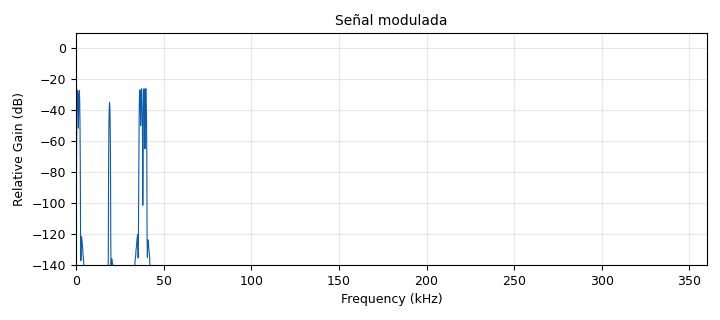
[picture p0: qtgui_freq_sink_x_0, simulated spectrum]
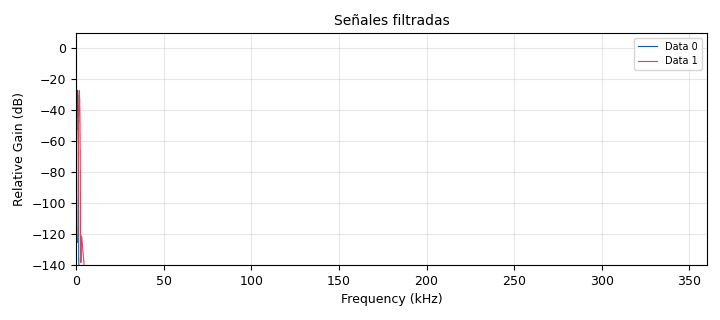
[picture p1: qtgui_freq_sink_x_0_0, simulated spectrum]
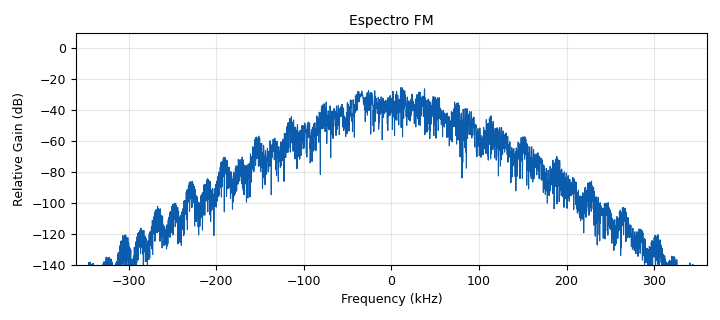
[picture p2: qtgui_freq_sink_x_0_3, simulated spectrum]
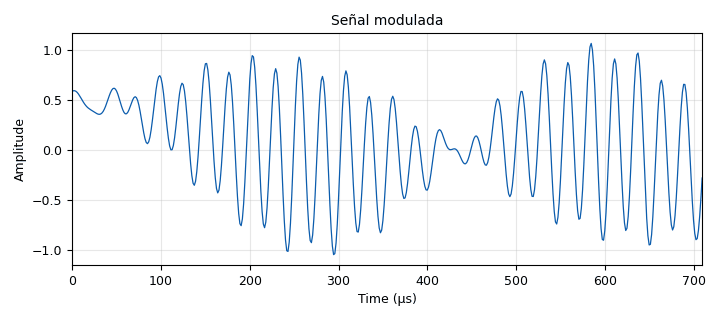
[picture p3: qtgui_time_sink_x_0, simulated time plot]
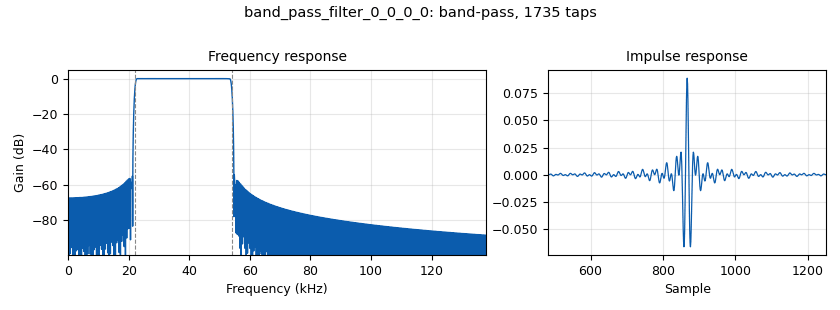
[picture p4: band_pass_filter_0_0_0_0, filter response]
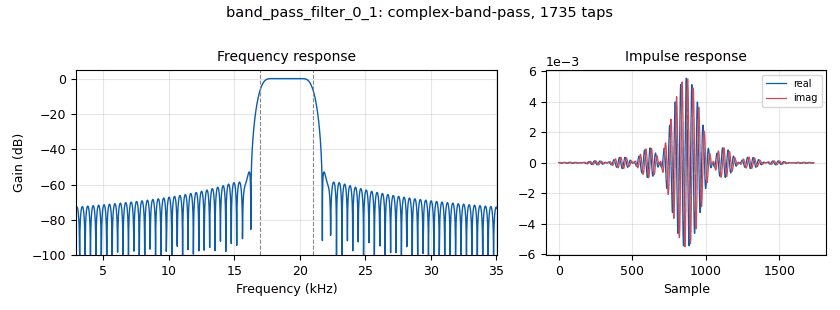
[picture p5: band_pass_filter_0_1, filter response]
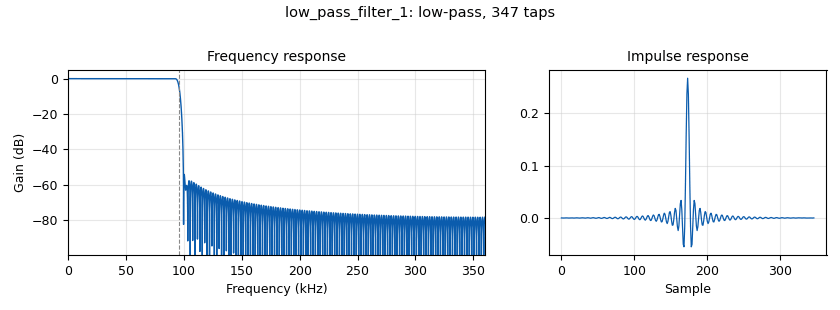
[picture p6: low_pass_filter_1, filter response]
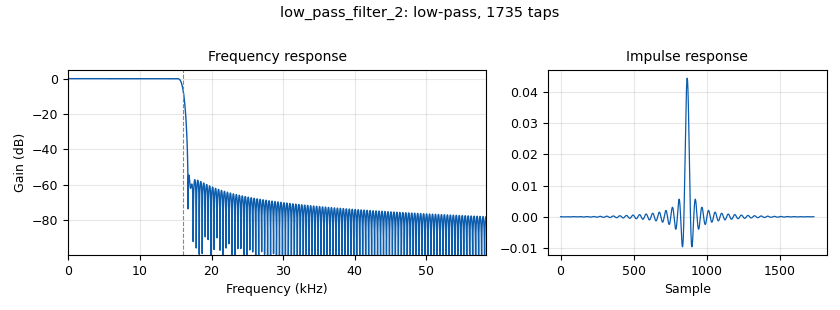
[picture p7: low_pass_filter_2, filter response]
<?xml version='1.0' encoding='utf-8'?>
<?grc format='1' created='3.7.13'?>
<flow_graph>
<block>
<key>options</key>
<param><key>id</key><value>top_block</value></param>
<param><key>generate_options</key><value>qt_gui</value></param>
</block>
<block>
<key>variable_qtgui_range</key>
<param><key>id</key><value>Aleft</value></param>
<param><key>value</key><value>0.25</value></param>
<param><key>label</key><value>Left Stereo Amplitude</value></param>
<param><key>orient</key><value>Qt.Horizontal</value></param>
<param><key>start</key><value>0</value></param>
<param><key>step</key><value>0.01</value></param>
<param><key>stop</key><value>0.5</value></param>
</block>
<block>
<key>variable_qtgui_range</key>
<param><key>id</key><value>Aright</value></param>
<param><key>value</key><value>0.25</value></param>
<param><key>label</key><value>Right Stereo Amplitude</value></param>
<param><key>orient</key><value>Qt.Horizontal</value></param>
<param><key>start</key><value>0.0</value></param>
<param><key>step</key><value>0.01</value></param>
<param><key>stop</key><value>0.5</value></param>
</block>
<block>
<key>variable_qtgui_range</key>
<param><key>id</key><value>Fleft</value></param>
<param><key>value</key><value>700</value></param>
<param><key>label</key><value>Left Stereo Frequency</value></param>
<param><key>orient</key><value>Qt.Horizontal</value></param>
<param><key>start</key><value>0.1e3</value></param>
<param><key>step</key><value>0.1e3</value></param>
<param><key>stop</key><value>20e3</value></param>
</block>
<block>
<key>variable</key>
<param><key>id</key><value>Fpilot</value></param>
<param><key>comment</key><value>Pilot Signal Frequency</value></param>
<param><key>value</key><value>19e3</value></param>
</block>
<block>
<key>variable_qtgui_range</key>
<param><key>id</key><value>Freq_USRP</value></param>
<param><key>value</key><value>94.3e6</value></param>
<param><key>label</key><value>Freq_USRP</value></param>
<param><key>orient</key><value>Qt.Horizontal</value></param>
<param><key>start</key><value>80e6</value></param>
<param><key>step</key><value>0.1e6</value></param>
<param><key>stop</key><value>107.9e6</value></param>
</block>
<block>
<key>variable_qtgui_range</key>
<param><key>id</key><value>Fright</value></param>
<param><key>value</key><value>1700</value></param>
<param><key>label</key><value>Right Stereo Frequency</value></param>
<param><key>orient</key><value>Qt.Horizontal</value></param>
<param><key>start</key><value>0.1e3</value></param>
<param><key>step</key><value>0.1e3</value></param>
<param><key>stop</key><value>20e3</value></param>
</block>
<block>
<key>variable_qtgui_range</key>
<param><key>id</key><value>Gain_Tx</value></param>
<param><key>value</key><value>70</value></param>
<param><key>label</key><value>Gain_Tx</value></param>
<param><key>orient</key><value>Qt.Horizontal</value></param>
<param><key>start</key><value>0</value></param>
<param><key>step</key><value>1</value></param>
<param><key>stop</key><value>100</value></param>
</block>
<block>
<key>variable</key>
<param><key>id</key><value>samp_rate</value></param>
<param><key>value</key><value>720e3</value></param>
</block>
<block>
<key>note</key>
<param><key>id</key><value>PilotSignal</value></param>
<param><key>note</key><value>Indica que en su segunda armónica hay información estéreo</value></param>
</block>
<block>
<key>analog_sig_source_x</key>
<param><key>id</key><value>Sleft</value></param>
<param><key>amp</key><value>Aleft</value></param>
<param><key>alias</key><value>Left Signal</value></param>
<param><key>comment</key><value>Left Signal</value></param>
<param><key>freq</key><value>Fleft</value></param>
<param><key>offset</key><value>0</value></param>
<param><key>type</key><value>float</value></param>
<param><key>samp_rate</key><value>samp_rate</value></param>
<param><key>waveform</key><value>analog.GR_COS_WAVE</value></param>
</block>
<block>
<key>analog_sig_source_x</key>
<param><key>id</key><value>Sleft_03</value></param>
<param><key>amp</key><value>Aleft</value></param>
<param><key>alias</key><value>Left Signal oo</value></param>
<param><key>comment</key><value>Left Signal</value></param>
<param><key>_enabled</key><value>0</value></param>
<param><key>freq</key><value>Fleft</value></param>
<param><key>offset</key><value>0</value></param>
<param><key>type</key><value>float</value></param>
<param><key>samp_rate</key><value>samp_rate</value></param>
<param><key>waveform</key><value>analog.GR_COS_WAVE</value></param>
</block>
<block>
<key>analog_sig_source_x</key>
<param><key>id</key><value>Smover</value></param>
<param><key>amp</key><value>1</value></param>
<param><key>comment</key><value>Center L-R</value></param>
<param><key>freq</key><value>Fpilot*2</value></param>
<param><key>offset</key><value>0</value></param>
<param><key>type</key><value>float</value></param>
<param><key>samp_rate</key><value>samp_rate</value></param>
<param><key>waveform</key><value>analog.GR_SIN_WAVE</value></param>
</block>
<block>
<key>analog_sig_source_x</key>
<param><key>id</key><value>Smover_0</value></param>
<param><key>amp</key><value>1</value></param>
<param><key>comment</key><value>Center L-R</value></param>
<param><key>_enabled</key><value>0</value></param>
<param><key>freq</key><value>Fpilot*2</value></param>
<param><key>offset</key><value>0</value></param>
<param><key>type</key><value>float</value></param>
<param><key>samp_rate</key><value>samp_rate</value></param>
<param><key>waveform</key><value>analog.GR_SIN_WAVE</value></param>
</block>
<block>
<key>analog_sig_source_x</key>
<param><key>id</key><value>Spilot</value></param>
<param><key>amp</key><value>0.1</value></param>
<param><key>comment</key><value>Pilot Signal</value></param>
<param><key>freq</key><value>Fpilot</value></param>
<param><key>offset</key><value>0</value></param>
<param><key>type</key><value>float</value></param>
<param><key>samp_rate</key><value>samp_rate</value></param>
<param><key>waveform</key><value>analog.GR_SIN_WAVE</value></param>
</block>
<block>
<key>analog_sig_source_x</key>
<param><key>id</key><value>Sright</value></param>
<param><key>amp</key><value>Aright</value></param>
<param><key>comment</key><value>Right Signal</value></param>
<param><key>freq</key><value>Fright</value></param>
<param><key>offset</key><value>0</value></param>
<param><key>type</key><value>float</value></param>
<param><key>samp_rate</key><value>samp_rate</value></param>
<param><key>waveform</key><value>analog.GR_COS_WAVE</value></param>
</block>
<block>
<key>qtgui_tab_widget</key>
<param><key>id</key><value>Tabs</value></param>
<param><key>label0</key><value>Tx</value></param>
<param><key>label1</key><value>Rx</value></param>
<param><key>num_tabs</key><value>2</value></param>
</block>
<block>
<key>analog_frequency_modulator_fc</key>
<param><key>id</key><value>analog_frequency_modulator_fc_0</value></param>
<param><key>sensitivity</key><value>2*np.pi*75e3/samp_rate</value></param>
</block>
<block>
<key>analog_pll_refout_cc</key>
<param><key>id</key><value>analog_pll_refout_cc_0</value></param>
<param><key>w</key><value>0.2</value></param>
<param><key>max_freq</key><value>2*np.pi*19600/samp_rate</value></param>
<param><key>min_freq</key><value>2*np.pi*18400/samp_rate</value></param>
</block>
<block>
<key>analog_quadrature_demod_cf</key>
<param><key>id</key><value>analog_quadrature_demod_cf_0</value></param>
<param><key>gain</key><value>samp_rate/(2*np.pi*75000)</value></param>
</block>
<block>
<key>analog_sig_source_x</key>
<param><key>id</key><value>analog_sig_source_x_0</value></param>
<param><key>amp</key><value>1</value></param>
<param><key>_enabled</key><value>0</value></param>
<param><key>freq</key><value>19e3</value></param>
<param><key>offset</key><value>0</value></param>
<param><key>type</key><value>float</value></param>
<param><key>samp_rate</key><value>samp_rate</value></param>
<param><key>waveform</key><value>analog.GR_COS_WAVE</value></param>
</block>
<block>
<key>audio_sink</key>
<param><key>id</key><value>audio_sink_0</value></param>
<param><key>num_inputs</key><value>2</value></param>
<param><key>samp_rate</key><value>48000</value></param>
</block>
<block>
<key>band_pass_filter</key>
<param><key>id</key><value>band_pass_filter_0_0_0_0</value></param>
<param><key>comment</key><value>Left - Right @ 2Fpilot</value></param>
<param><key>decim</key><value>1</value></param>
<param><key>type</key><value>fir_filter_fff</value></param>
<param><key>gain</key><value>1</value></param>
<param><key>high_cutoff_freq</key><value>16e3+2*Fpilot</value></param>
<param><key>low_cutoff_freq</key><value>2*Fpilot-16e3</value></param>
<param><key>samp_rate</key><value>samp_rate</value></param>
<param><key>width</key><value>1e3</value></param>
<param><key>win</key><value>firdes.WIN_HAMMING</value></param>
</block>
<block>
<key>band_pass_filter</key>
<param><key>id</key><value>band_pass_filter_0_1</value></param>
<param><key>comment</key><value>Piloto</value></param>
<param><key>decim</key><value>1</value></param>
<param><key>type</key><value>fir_filter_fcc</value></param>
<param><key>gain</key><value>1</value></param>
<param><key>high_cutoff_freq</key><value>21e3</value></param>
<param><key>low_cutoff_freq</key><value>17e3</value></param>
<param><key>samp_rate</key><value>samp_rate</value></param>
<param><key>width</key><value>1e3</value></param>
<param><key>win</key><value>firdes.WIN_HAMMING</value></param>
</block>
<block>
<key>blocks_add_xx</key>
<param><key>id</key><value>blocks_add_xx_0</value></param>
<param><key>comment</key><value>Left + Right</value></param>
<param><key>type</key><value>float</value></param>
</block>
<block>
<key>blocks_add_xx</key>
<param><key>id</key><value>blocks_add_xx_0_0</value></param>
<param><key>comment</key><value>Left
recovered</value></param>
<param><key>type</key><value>float</value></param>
</block>
<block>
<key>blocks_add_xx</key>
<param><key>id</key><value>blocks_add_xx_1</value></param>
<param><key>type</key><value>float</value></param>
<param><key>num_inputs</key><value>3</value></param>
</block>
<block>
<key>blocks_complex_to_imag</key>
<param><key>id</key><value>blocks_complex_to_imag_0</value></param>
</block>
<block>
<key>blocks_multiply_const_vxx</key>
<param><key>id</key><value>blocks_multiply_const_vxx_0</value></param>
<param><key>comment</key><value>Corrección de 7dB</value></param>
<param><key>const</key><value>2.238</value></param>
<param><key>type</key><value>float</value></param>
</block>
<block>
<key>blocks_multiply_const_vxx</key>
<param><key>id</key><value>blocks_multiply_const_vxx_0_0</value></param>
<param><key>comment</key><value>Corrección de ganancia</value></param>
<param><key>const</key><value>0.9021</value></param>
<param><key>type</key><value>float</value></param>
</block>
<block>
<key>blocks_multiply_const_vxx</key>
<param><key>id</key><value>blocks_multiply_const_vxx_1</value></param>
<param><key>const</key><value>-1</value></param>
<param><key>type</key><value>float</value></param>
</block>
<block>
<key>blocks_multiply_xx</key>
<param><key>id</key><value>blocks_multiply_xx_0</value></param>
<param><key>comment</key><value>L-R moved to 
2Pilot Frequency</value></param>
<param><key>type</key><value>float</value></param>
</block>
<block>
<key>blocks_multiply_xx</key>
<param><key>id</key><value>blocks_multiply_xx_1</value></param>
<param><key>comment</key><value>Left - Right
Unfiltered</value></param>
<param><key>type</key><value>float</value></param>
</block>
<block>
<key>blocks_multiply_xx</key>
<param><key>id</key><value>blocks_multiply_xx_2</value></param>
<param><key>type</key><value>complex</value></param>
</block>
<block>
<key>blocks_sub_xx</key>
<param><key>id</key><value>blocks_sub_xx_0</value></param>
<param><key>comment</key><value>Left - Right</value></param>
<param><key>type</key><value>float</value></param>
</block>
<block>
<key>blocks_sub_xx</key>
<param><key>id</key><value>blocks_sub_xx_0_0</value></param>
<param><key>comment</key><value>Right recovered</value></param>
<param><key>type</key><value>float</value></param>
</block>
<block>
<key>low_pass_filter</key>
<param><key>id</key><value>low_pass_filter_0</value></param>
<param><key>comment</key><value>Filtered Left</value></param>
<param><key>cutoff_freq</key><value>18e3</value></param>
<param><key>decim</key><value>1</value></param>
<param><key>_enabled</key><value>2</value></param>
<param><key>type</key><value>fir_filter_fff</value></param>
<param><key>gain</key><value>1</value></param>
<param><key>samp_rate</key><value>samp_rate</value></param>
<param><key>width</key><value>3e3</value></param>
<param><key>win</key><value>firdes.WIN_HAMMING</value></param>
</block>
<block>
<key>low_pass_filter</key>
<param><key>id</key><value>low_pass_filter_0_0</value></param>
<param><key>comment</key><value>Filtered Right</value></param>
<param><key>cutoff_freq</key><value>18e3</value></param>
<param><key>decim</key><value>1</value></param>
<param><key>_enabled</key><value>2</value></param>
<param><key>type</key><value>fir_filter_fff</value></param>
<param><key>gain</key><value>1</value></param>
<param><key>samp_rate</key><value>samp_rate</value></param>
<param><key>width</key><value>3e3</value></param>
<param><key>win</key><value>firdes.WIN_HAMMING</value></param>
</block>
<block>
<key>low_pass_filter</key>
<param><key>id</key><value>low_pass_filter_1</value></param>
<param><key>cutoff_freq</key><value>96e3</value></param>
<param><key>decim</key><value>1</value></param>
<param><key>type</key><value>fir_filter_ccf</value></param>
<param><key>gain</key><value>1</value></param>
<param><key>samp_rate</key><value>samp_rate</value></param>
<param><key>width</key><value>5e3</value></param>
<param><key>win</key><value>firdes.WIN_HAMMING</value></param>
</block>
<block>
<key>low_pass_filter</key>
<param><key>id</key><value>low_pass_filter_2</value></param>
<param><key>cutoff_freq</key><value>16e3</value></param>
<param><key>decim</key><value>1</value></param>
<param><key>type</key><value>fir_filter_fff</value></param>
<param><key>gain</key><value>1</value></param>
<param><key>samp_rate</key><value>samp_rate</value></param>
<param><key>width</key><value>1e3</value></param>
<param><key>win</key><value>firdes.WIN_HAMMING</value></param>
</block>
<block>
<key>low_pass_filter</key>
<param><key>id</key><value>low_pass_filter_2_0</value></param>
<param><key>cutoff_freq</key><value>16e3</value></param>
<param><key>type</key><value>interp_fir_filter_fff</value></param>
<param><key>gain</key><value>1</value></param>
<param><key>interp</key><value>1</value></param>
<param><key>samp_rate</key><value>samp_rate</value></param>
<param><key>width</key><value>1e3</value></param>
<param><key>win</key><value>firdes.WIN_HAMMING</value></param>
</block>
<block>
<key>low_pass_filter</key>
<param><key>id</key><value>low_pass_filter_2_0_0</value></param>
<param><key>comment</key><value>Lo puse para que se 
contraarreste la distorsión
por el delay del filtro en L-R  \0/</value></param>
<param><key>cutoff_freq</key><value>16e3</value></param>
<param><key>type</key><value>interp_fir_filter_fff</value></param>
<param><key>gain</key><value>1</value></param>
<param><key>interp</key><value>1</value></param>
<param><key>samp_rate</key><value>samp_rate</value></param>
<param><key>width</key><value>1e3</value></param>
<param><key>win</key><value>firdes.WIN_HAMMING</value></param>
</block>
<block>
<key>note</key>
<param><key>id</key><value>note_0</value></param>
<param><key>comment</key><value>Puse los dos filtros
 en interpolating para
 una smoother signal</value></param>
<param><key>note</key><value>Filtros</value></param>
</block>
<block>
<key>import</key>
<param><key>id</key><value>numpy</value></param>
<param><key>import</key><value>import numpy as np</value></param>
</block>
<block>
<key>qtgui_freq_sink_x</key>
<param><key>id</key><value>qtgui_freq_sink_x_0</value></param>
<param><key>bw</key><value>samp_rate</value></param>
<param><key>fc</key><value>0</value></param>
<param><key>fftsize</key><value>4096</value></param>
<param><key>gui_hint</key><value>Tabs@0</value></param>
<param><key>grid</key><value>True</value></param>
<param><key>name</key><value>"Señal modulada"</value></param>
<param><key>showports</key><value>True</value></param>
<param><key>freqhalf</key><value>False</value></param>
<param><key>type</key><value>float</value></param>
<param><key>wintype</key><value>firdes.WIN_BLACKMAN_hARRIS</value></param>
</block>
<block>
<key>qtgui_freq_sink_x</key>
<param><key>id</key><value>qtgui_freq_sink_x_0_0</value></param>
<param><key>bw</key><value>samp_rate</value></param>
<param><key>fc</key><value>0</value></param>
<param><key>fftsize</key><value>4096</value></param>
<param><key>gui_hint</key><value>Tabs@0</value></param>
<param><key>grid</key><value>True</value></param>
<param><key>label2</key><value></value></param>
<param><key>name</key><value>"Señales filtradas"</value></param>
<param><key>nconnections</key><value>2</value></param>
<param><key>showports</key><value>True</value></param>
<param><key>freqhalf</key><value>False</value></param>
<param><key>type</key><value>float</value></param>
<param><key>wintype</key><value>firdes.WIN_BLACKMAN_hARRIS</value></param>
</block>
<block>
<key>qtgui_freq_sink_x</key>
<param><key>id</key><value>qtgui_freq_sink_x_0_1</value></param>
<param><key>bw</key><value>samp_rate</value></param>
<param><key>fc</key><value>0</value></param>
<param><key>fftsize</key><value>4096</value></param>
<param><key>gui_hint</key><value>Tabs@1</value></param>
<param><key>grid</key><value>True</value></param>
<param><key>label1</key><value>Left+Right filtered</value></param>
<param><key>label2</key><value>Left-Right filtered @2Fpiloto</value></param>
<param><key>label3</key><value>Left-Right filtered</value></param>
<param><key>name</key><value>"Señal Rx Filtrada"</value></param>
<param><key>nconnections</key><value>3</value></param>
<param><key>showports</key><value>True</value></param>
<param><key>freqhalf</key><value>False</value></param>
<param><key>type</key><value>float</value></param>
<param><key>wintype</key><value>firdes.WIN_BLACKMAN_hARRIS</value></param>
</block>
<block>
<key>qtgui_freq_sink_x</key>
<param><key>id</key><value>qtgui_freq_sink_x_0_2</value></param>
<param><key>bw</key><value>samp_rate</value></param>
<param><key>fc</key><value>0</value></param>
<param><key>fftsize</key><value>4096</value></param>
<param><key>gui_hint</key><value>Tabs@1</value></param>
<param><key>grid</key><value>True</value></param>
<param><key>label1</key><value>Left Recovered</value></param>
<param><key>label2</key><value>Right Recovered</value></param>
<param><key>name</key><value>"Espectro recuperado"</value></param>
<param><key>nconnections</key><value>2</value></param>
<param><key>showports</key><value>True</value></param>
<param><key>freqhalf</key><value>False</value></param>
<param><key>type</key><value>float</value></param>
<param><key>wintype</key><value>firdes.WIN_BLACKMAN_hARRIS</value></param>
</block>
<block>
<key>qtgui_freq_sink_x</key>
<param><key>id</key><value>qtgui_freq_sink_x_0_3</value></param>
<param><key>bw</key><value>samp_rate</value></param>
<param><key>fc</key><value>0</value></param>
<param><key>fftsize</key><value>4096</value></param>
<param><key>gui_hint</key><value>Tabs@0</value></param>
<param><key>name</key><value>"Espectro FM"</value></param>
<param><key>showports</key><value>True</value></param>
<param><key>type</key><value>complex</value></param>
<param><key>wintype</key><value>firdes.WIN_BLACKMAN_hARRIS</value></param>
</block>
<block>
<key>qtgui_freq_sink_x</key>
<param><key>id</key><value>qtgui_freq_sink_x_1</value></param>
<param><key>bw</key><value>samp_rate</value></param>
<param><key>fc</key><value>0</value></param>
<param><key>fftsize</key><value>1024</value></param>
<param><key>gui_hint</key><value>Tabs@1</value></param>
<param><key>name</key><value>"Recovered Pilot"</value></param>
<param><key>showports</key><value>True</value></param>
<param><key>freqhalf</key><value>False</value></param>
<param><key>type</key><value>complex</value></param>
<param><key>wintype</key><value>firdes.WIN_BLACKMAN_hARRIS</value></param>
</block>
<block>
<key>qtgui_freq_sink_x</key>
<param><key>id</key><value>qtgui_freq_sink_x_1_0</value></param>
<param><key>bw</key><value>samp_rate</value></param>
<param><key>fc</key><value>0</value></param>
<param><key>fftsize</key><value>1024</value></param>
<param><key>gui_hint</key><value>Tabs@1</value></param>
<param><key>name</key><value>"Recovered Center L-R"</value></param>
<param><key>showports</key><value>True</value></param>
<param><key>freqhalf</key><value>False</value></param>
<param><key>type</key><value>float</value></param>
<param><key>wintype</key><value>firdes.WIN_BLACKMAN_hARRIS</value></param>
</block>
<block>
<key>qtgui_time_sink_x</key>
<param><key>id</key><value>qtgui_time_sink_x_0</value></param>
<param><key>autoscale</key><value>True</value></param>
<param><key>gui_hint</key><value>Tabs@0</value></param>
<param><key>color1</key><value>"blue"</value></param>
<param><key>label1</key><value></value></param>
<param><key>name</key><value>"Señal modulada"</value></param>
<param><key>size</key><value>512</value></param>
<param><key>srate</key><value>samp_rate</value></param>
<param><key>type</key><value>float</value></param>
</block>
<block>
<key>qtgui_time_sink_x</key>
<param><key>id</key><value>qtgui_time_sink_x_0_0</value></param>
<param><key>autoscale</key><value>True</value></param>
<param><key>gui_hint</key><value>Tabs@1</value></param>
<param><key>color1</key><value>"blue"</value></param>
<param><key>label1</key><value>Left Recovered</value></param>
<param><key>name</key><value>"Señal izquierda"</value></param>
<param><key>size</key><value>2048</value></param>
<param><key>srate</key><value>samp_rate</value></param>
<param><key>type</key><value>float</value></param>
</block>
<block>
<key>qtgui_time_sink_x</key>
<param><key>id</key><value>qtgui_time_sink_x_0_0_0</value></param>
<param><key>autoscale</key><value>True</value></param>
<param><key>gui_hint</key><value>Tabs@1</value></param>
<param><key>color1</key><value>"blue"</value></param>
<param><key>label1</key><value>Right Recovered</value></param>
<param><key>name</key><value>"Señal derecha"</value></param>
<param><key>size</key><value>2048</value></param>
<param><key>srate</key><value>samp_rate</value></param>
<param><key>type</key><value>float</value></param>
</block>
<block>
<key>qtgui_time_sink_x</key>
<param><key>id</key><value>qtgui_time_sink_x_1</value></param>
<param><key>gui_hint</key><value>Tabs@1</value></param>
<param><key>grid</key><value>True</value></param>
<param><key>color1</key><value>"blue"</value></param>
<param><key>label1</key><value></value></param>
<param><key>color2</key><value>"red"</value></param>
<param><key>label2</key><value></value></param>
<param><key>name</key><value>Piloto Recuperada</value></param>
<param><key>size</key><value>1024</value></param>
<param><key>srate</key><value>samp_rate</value></param>
<param><key>type</key><value>complex</value></param>
</block>
<block>
<key>qtgui_time_sink_x</key>
<param><key>id</key><value>qtgui_time_sink_x_2</value></param>
<param><key>gui_hint</key><value>Tabs@1</value></param>
<param><key>grid</key><value>True</value></param>
<param><key>color1</key><value>"blue"</value></param>
<param><key>label1</key><value>L+R</value></param>
<param><key>color2</key><value>"red"</value></param>
<param><key>label2</key><value>L-R</value></param>
<param><key>name</key><value>"Señales a restar"</value></param>
<param><key>nconnections</key><value>2</value></param>
<param><key>size</key><value>1024</value></param>
<param><key>srate</key><value>samp_rate</value></param>
<param><key>type</key><value>float</value></param>
</block>
<block>
<key>qtgui_time_sink_x</key>
<param><key>id</key><value>qtgui_time_sink_x_3</value></param>
<param><key>gui_hint</key><value>Tabs@1</value></param>
<param><key>color1</key><value>"blue"</value></param>
<param><key>label1</key><value>Original</value></param>
<param><key>color2</key><value>"red"</value></param>
<param><key>label2</key><value>Recuperada</value></param>
<param><key>name</key><value>"C(L-R) Recovered"</value></param>
<param><key>nconnections</key><value>2</value></param>
<param><key>size</key><value>1024</value></param>
<param><key>srate</key><value>samp_rate</value></param>
<param><key>type</key><value>float</value></param>
</block>
<block>
<key>qtgui_time_sink_x</key>
<param><key>id</key><value>qtgui_time_sink_x_4</value></param>
<param><key>gui_hint</key><value>Tabs@1</value></param>
<param><key>color1</key><value>"blue"</value></param>
<param><key>label1</key><value>QDO</value></param>
<param><key>name</key><value>"Quadrature Demod Output"</value></param>
<param><key>size</key><value>1024</value></param>
<param><key>srate</key><value>samp_rate</value></param>
<param><key>type</key><value>float</value></param>
</block>
<block>
<key>rational_resampler_xxx</key>
<param><key>id</key><value>rational_resampler_xxx_0</value></param>
<param><key>decim</key><value>15</value></param>
<param><key>interp</key><value>1</value></param>
<param><key>taps</key><value></value></param>
<param><key>type</key><value>fff</value></param>
</block>
<block>
<key>rational_resampler_xxx</key>
<param><key>id</key><value>rational_resampler_xxx_1</value></param>
<param><key>decim</key><value>15</value></param>
<param><key>interp</key><value>1</value></param>
<param><key>taps</key><value></value></param>
<param><key>type</key><value>fff</value></param>
</block>
<block>
<key>uhd_usrp_sink</key>
<param><key>id</key><value>uhd_usrp_sink_0</value></param>
<param><key>ant0</key><value></value></param>
<param><key>center_freq0</key><value>Freq_USRP</value></param>
<param><key>norm_gain0</key><value>False</value></param>
<param><key>gain0</key><value>Gain_Tx</value></param>
<param><key>clock_rate</key><value>0.0</value></param>
<param><key>dev_args</key><value>""</value></param>
<param><key>type</key><value>fc32</value></param>
<param><key>samp_rate</key><value>samp_rate</value></param>
<param><key>hide_cmd_port</key><value>False</value></param>
<param><key>hide_lo_controls</key><value>True</value></param>
<param><key>sync</key><value></value></param>
<param><key>len_tag_name</key><value></value></param>
</block>
<block>
<key>uhd_usrp_source</key>
<param><key>id</key><value>uhd_usrp_source_0</value></param>
<param><key>ant0</key><value></value></param>
<param><key>center_freq0</key><value>Freq_USRP</value></param>
<param><key>dc_offs_enb0</key><value>True</value></param>
<param><key>iq_imbal_enb0</key><value>True</value></param>
<param><key>norm_gain0</key><value>False</value></param>
<param><key>gain0</key><value>0</value></param>
<param><key>clock_rate</key><value>0.0</value></param>
<param><key>dev_args</key><value>""</value></param>
<param><key>type</key><value>fc32</value></param>
<param><key>samp_rate</key><value>samp_rate</value></param>
<param><key>hide_cmd_port</key><value>False</value></param>
<param><key>hide_lo_controls</key><value>True</value></param>
<param><key>sync</key><value></value></param>
</block>
<connection><source_block_id>Sleft</source_block_id><sink_block_id>low_pass_filter_0</sink_block_id><source_key>0</source_key><sink_key>0</sink_key></connection>
<connection><source_block_id>Sleft_03</source_block_id><sink_block_id>analog_frequency_modulator_fc_0</sink_block_id><source_key>0</source_key><sink_key>0</sink_key></connection>
<connection><source_block_id>Smover</source_block_id><sink_block_id>blocks_multiply_xx_0</sink_block_id><source_key>0</source_key><sink_key>1</sink_key></connection>
<connection><source_block_id>Smover</source_block_id><sink_block_id>qtgui_time_sink_x_3</sink_block_id><source_key>0</source_key><sink_key>0</sink_key></connection>
<connection><source_block_id>Smover_0</source_block_id><sink_block_id>blocks_multiply_xx_1</sink_block_id><source_key>0</source_key><sink_key>1</sink_key></connection>
<connection><source_block_id>Spilot</source_block_id><sink_block_id>blocks_add_xx_1</sink_block_id><source_key>0</source_key><sink_key>1</sink_key></connection>
<connection><source_block_id>Sright</source_block_id><sink_block_id>low_pass_filter_0_0</sink_block_id><source_key>0</source_key><sink_key>0</sink_key></connection>
<connection><source_block_id>analog_frequency_modulator_fc_0</source_block_id><sink_block_id>qtgui_freq_sink_x_0_3</sink_block_id><source_key>0</source_key><sink_key>0</sink_key></connection>
<connection><source_block_id>analog_frequency_modulator_fc_0</source_block_id><sink_block_id>uhd_usrp_sink_0</sink_block_id><source_key>0</source_key><sink_key>0</sink_key></connection>
<connection><source_block_id>analog_pll_refout_cc_0</source_block_id><sink_block_id>blocks_multiply_xx_2</sink_block_id><source_key>0</source_key><sink_key>0</sink_key></connection>
<connection><source_block_id>analog_pll_refout_cc_0</source_block_id><sink_block_id>blocks_multiply_xx_2</sink_block_id><source_key>0</source_key><sink_key>1</sink_key></connection>
<connection><source_block_id>analog_pll_refout_cc_0</source_block_id><sink_block_id>qtgui_freq_sink_x_1</sink_block_id><source_key>0</source_key><sink_key>0</sink_key></connection>
<connection><source_block_id>analog_pll_refout_cc_0</source_block_id><sink_block_id>qtgui_time_sink_x_1</sink_block_id><source_key>0</source_key><sink_key>0</sink_key></connection>
<connection><source_block_id>analog_quadrature_demod_cf_0</source_block_id><sink_block_id>band_pass_filter_0_0_0_0</sink_block_id><source_key>0</source_key><sink_key>0</sink_key></connection>
<connection><source_block_id>analog_quadrature_demod_cf_0</source_block_id><sink_block_id>band_pass_filter_0_1</sink_block_id><source_key>0</source_key><sink_key>0</sink_key></connection>
<connection><source_block_id>analog_quadrature_demod_cf_0</source_block_id><sink_block_id>low_pass_filter_2</sink_block_id><source_key>0</source_key><sink_key>0</sink_key></connection>
<connection><source_block_id>analog_quadrature_demod_cf_0</source_block_id><sink_block_id>qtgui_time_sink_x_4</sink_block_id><source_key>0</source_key><sink_key>0</sink_key></connection>
<connection><source_block_id>band_pass_filter_0_0_0_0</source_block_id><sink_block_id>blocks_multiply_xx_1</sink_block_id><source_key>0</source_key><sink_key>0</sink_key></connection>
<connection><source_block_id>band_pass_filter_0_0_0_0</source_block_id><sink_block_id>qtgui_freq_sink_x_0_1</sink_block_id><source_key>0</source_key><sink_key>1</sink_key></connection>
<connection><source_block_id>band_pass_filter_0_1</source_block_id><sink_block_id>analog_pll_refout_cc_0</sink_block_id><source_key>0</source_key><sink_key>0</sink_key></connection>
<connection><source_block_id>blocks_add_xx_0</source_block_id><sink_block_id>blocks_add_xx_1</sink_block_id><source_key>0</source_key><sink_key>0</sink_key></connection>
<connection><source_block_id>blocks_add_xx_0_0</source_block_id><sink_block_id>qtgui_freq_sink_x_0_2</sink_block_id><source_key>0</source_key><sink_key>0</sink_key></connection>
<connection><source_block_id>blocks_add_xx_0_0</source_block_id><sink_block_id>qtgui_time_sink_x_0_0</sink_block_id><source_key>0</source_key><sink_key>0</sink_key></connection>
<connection><source_block_id>blocks_add_xx_0_0</source_block_id><sink_block_id>rational_resampler_xxx_0</sink_block_id><source_key>0</source_key><sink_key>0</sink_key></connection>
<connection><source_block_id>blocks_add_xx_1</source_block_id><sink_block_id>analog_frequency_modulator_fc_0</sink_block_id><source_key>0</source_key><sink_key>0</sink_key></connection>
<connection><source_block_id>blocks_add_xx_1</source_block_id><sink_block_id>qtgui_freq_sink_x_0</sink_block_id><source_key>0</source_key><sink_key>0</sink_key></connection>
<connection><source_block_id>blocks_add_xx_1</source_block_id><sink_block_id>qtgui_time_sink_x_0</sink_block_id><source_key>0</source_key><sink_key>0</sink_key></connection>
<connection><source_block_id>blocks_complex_to_imag_0</source_block_id><sink_block_id>blocks_multiply_const_vxx_1</sink_block_id><source_key>0</source_key><sink_key>0</sink_key></connection>
<connection><source_block_id>blocks_multiply_const_vxx_0</source_block_id><sink_block_id>blocks_add_xx_1</sink_block_id><source_key>0</source_key><sink_key>2</sink_key></connection>
<connection><source_block_id>blocks_multiply_const_vxx_0_0</source_block_id><sink_block_id>blocks_add_xx_0_0</sink_block_id><source_key>0</source_key><sink_key>1</sink_key></connection>
<connection><source_block_id>blocks_multiply_const_vxx_0_0</source_block_id><sink_block_id>blocks_sub_xx_0_0</sink_block_id><source_key>0</source_key><sink_key>1</sink_key></connection>
<connection><source_block_id>blocks_multiply_const_vxx_0_0</source_block_id><sink_block_id>qtgui_freq_sink_x_0_1</sink_block_id><source_key>0</source_key><sink_key>2</sink_key></connection>
<connection><source_block_id>blocks_multiply_const_vxx_0_0</source_block_id><sink_block_id>qtgui_time_sink_x_2</sink_block_id><source_key>0</source_key><sink_key>1</sink_key></connection>
<connection><source_block_id>blocks_multiply_const_vxx_1</source_block_id><sink_block_id>blocks_multiply_xx_1</sink_block_id><source_key>0</source_key><sink_key>1</sink_key></connection>
<connection><source_block_id>blocks_multiply_const_vxx_1</source_block_id><sink_block_id>qtgui_freq_sink_x_1_0</sink_block_id><source_key>0</source_key><sink_key>0</sink_key></connection>
<connection><source_block_id>blocks_multiply_const_vxx_1</source_block_id><sink_block_id>qtgui_time_sink_x_3</sink_block_id><source_key>0</source_key><sink_key>1</sink_key></connection>
<connection><source_block_id>blocks_multiply_xx_0</source_block_id><sink_block_id>blocks_multiply_const_vxx_0</sink_block_id><source_key>0</source_key><sink_key>0</sink_key></connection>
<connection><source_block_id>blocks_multiply_xx_1</source_block_id><sink_block_id>low_pass_filter_2_0</sink_block_id><source_key>0</source_key><sink_key>0</sink_key></connection>
<connection><source_block_id>blocks_multiply_xx_2</source_block_id><sink_block_id>blocks_complex_to_imag_0</sink_block_id><source_key>0</source_key><sink_key>0</sink_key></connection>
<connection><source_block_id>blocks_sub_xx_0</source_block_id><sink_block_id>blocks_multiply_xx_0</sink_block_id><source_key>0</source_key><sink_key>0</sink_key></connection>
<connection><source_block_id>blocks_sub_xx_0_0</source_block_id><sink_block_id>qtgui_freq_sink_x_0_2</sink_block_id><source_key>0</source_key><sink_key>1</sink_key></connection>
<connection><source_block_id>blocks_sub_xx_0_0</source_block_id><sink_block_id>qtgui_time_sink_x_0_0_0</sink_block_id><source_key>0</source_key><sink_key>0</sink_key></connection>
<connection><source_block_id>blocks_sub_xx_0_0</source_block_id><sink_block_id>rational_resampler_xxx_1</sink_block_id><source_key>0</source_key><sink_key>0</sink_key></connection>
<connection><source_block_id>low_pass_filter_0</source_block_id><sink_block_id>blocks_add_xx_0</sink_block_id><source_key>0</source_key><sink_key>0</sink_key></connection>
<connection><source_block_id>low_pass_filter_0</source_block_id><sink_block_id>blocks_sub_xx_0</sink_block_id><source_key>0</source_key><sink_key>0</sink_key></connection>
<connection><source_block_id>low_pass_filter_0</source_block_id><sink_block_id>qtgui_freq_sink_x_0_0</sink_block_id><source_key>0</source_key><sink_key>0</sink_key></connection>
<connection><source_block_id>low_pass_filter_0_0</source_block_id><sink_block_id>blocks_add_xx_0</sink_block_id><source_key>0</source_key><sink_key>1</sink_key></connection>
<connection><source_block_id>low_pass_filter_0_0</source_block_id><sink_block_id>blocks_sub_xx_0</sink_block_id><source_key>0</source_key><sink_key>1</sink_key></connection>
<connection><source_block_id>low_pass_filter_0_0</source_block_id><sink_block_id>qtgui_freq_sink_x_0_0</sink_block_id><source_key>0</source_key><sink_key>1</sink_key></connection>
<connection><source_block_id>low_pass_filter_1</source_block_id><sink_block_id>analog_quadrature_demod_cf_0</sink_block_id><source_key>0</source_key><sink_key>0</sink_key></connection>
<connection><source_block_id>low_pass_filter_2</source_block_id><sink_block_id>low_pass_filter_2_0_0</sink_block_id><source_key>0</source_key><sink_key>0</sink_key></connection>
<connection><source_block_id>low_pass_filter_2_0</source_block_id><sink_block_id>blocks_multiply_const_vxx_0_0</sink_block_id><source_key>0</source_key><sink_key>0</sink_key></connection>
<connection><source_block_id>low_pass_filter_2_0_0</source_block_id><sink_block_id>blocks_add_xx_0_0</sink_block_id><source_key>0</source_key><sink_key>0</sink_key></connection>
<connection><source_block_id>low_pass_filter_2_0_0</source_block_id><sink_block_id>blocks_sub_xx_0_0</sink_block_id><source_key>0</source_key><sink_key>0</sink_key></connection>
<connection><source_block_id>low_pass_filter_2_0_0</source_block_id><sink_block_id>qtgui_freq_sink_x_0_1</sink_block_id><source_key>0</source_key><sink_key>0</sink_key></connection>
<connection><source_block_id>low_pass_filter_2_0_0</source_block_id><sink_block_id>qtgui_time_sink_x_2</sink_block_id><source_key>0</source_key><sink_key>0</sink_key></connection>
<connection><source_block_id>rational_resampler_xxx_0</source_block_id><sink_block_id>audio_sink_0</sink_block_id><source_key>0</source_key><sink_key>0</sink_key></connection>
<connection><source_block_id>rational_resampler_xxx_1</source_block_id><sink_block_id>audio_sink_0</sink_block_id><source_key>0</source_key><sink_key>1</sink_key></connection>
<connection><source_block_id>uhd_usrp_source_0</source_block_id><sink_block_id>low_pass_filter_1</sink_block_id><source_key>0</source_key><sink_key>0</sink_key></connection>
</flow_graph>
